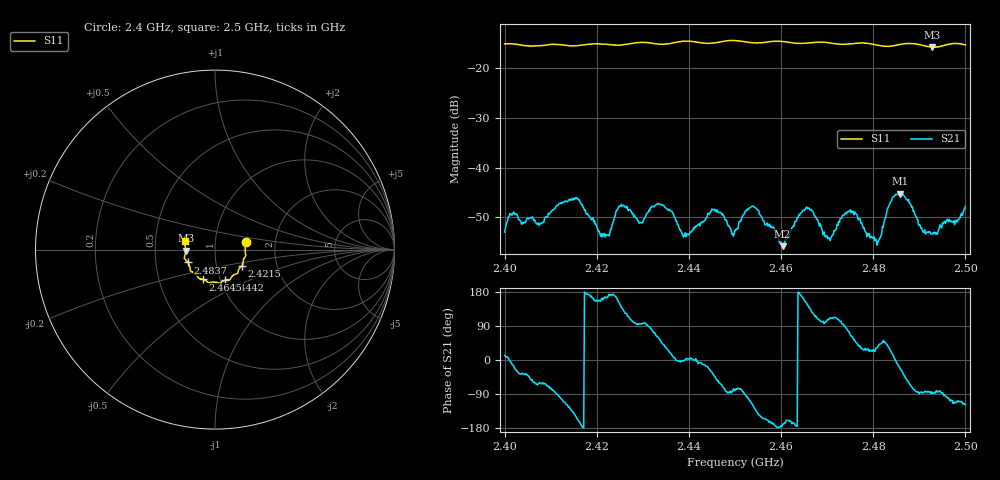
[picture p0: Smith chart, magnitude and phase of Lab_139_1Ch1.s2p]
# Hz S RI R 50
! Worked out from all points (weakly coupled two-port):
!   601 points, 2.4 GHz to 2.5 GHz, reference 50 ohm
!   highest |S21| = -45.24 dB at 2.4858 GHz (marker M1); lowest = -55.8 dB at 2.4603 GHz (marker M2)
!   lowest |S11| = -15.7 dB at 2.4928 GHz (marker M3), VSWR 1.39, Z = 36 - j0.389 ohm
!   |S11| at or under -10 dB: start of sweep to end of sweep
!   S12 and S22 are empty: the file has one direction only
!   S11 on the Smith chart (normalised r, x): 2.4 GHz: 1.41, +0.12; 2.4215 GHz: 1.33, -0.25; 2.4442 GHz: 1.05, -0.37; 2.4645 GHz: 0.83, -0.29; 2.4837 GHz: 0.73, -0.11; 2.5 GHz: 0.71, +0.07
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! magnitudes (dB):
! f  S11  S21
! 2.4 GHz  -15.1  -53.0
! 2.4017 GHz  -15.0  -49.4
! 2.4167 GHz  -15.3  -47.4
! 2.4215 GHz  -15.1  -53.7
! 2.4252 GHz  -15.3  -47.7
! 2.4295 GHz  -14.8  -51.0
! 2.4333 GHz  -15.1  -47.2
! 2.4392 GHz  -14.5  -53.1
! 2.4442 GHz  -15.0  -49.1
! 2.45 GHz  -14.4  -52.6
! 2.454 GHz  -14.9  -47.7
! 2.4603 GHz  -14.6  -55.8
! 2.4645 GHz  -15.0  -49.0
! 2.4667 GHz  -14.8  -48.6
! 2.4702 GHz  -14.8  -54.3
! 2.4752 GHz  -15.1  -49.1
! 2.4808 GHz  -15.3  -55.6
! 2.4833 GHz  -15.6  -47.8
! 2.4837 GHz  -15.5  -47.1
! 2.4858 GHz  -15.2  -45.2
! 2.4928 GHz  -15.7  -53.3
! 2.5 GHz  -15.2  -47.8
